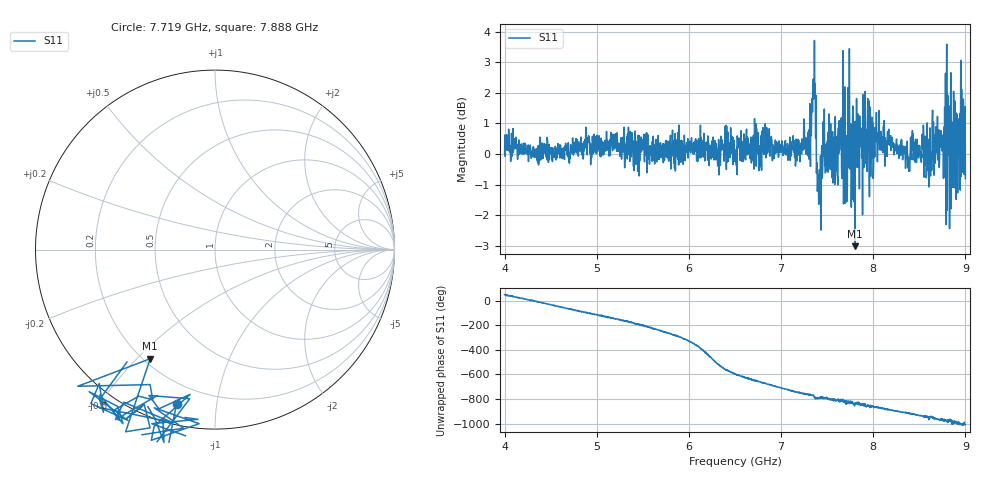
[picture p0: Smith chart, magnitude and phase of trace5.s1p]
! Created with skrf 1.8.0 (http://scikit-rf.org).
# Hz S RI R 50.0
!freq ReS11 ImS11
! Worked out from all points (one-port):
!   1601 points, 4 GHz to 9 GHz, reference 50 ohm
!   lowest |S11| = -3.0 dB at 7.8 GHz (marker M1), VSWR 5.82, Z = 11.3 - j27.4 ohm
!   |S11| at or under -10 dB: nowhere
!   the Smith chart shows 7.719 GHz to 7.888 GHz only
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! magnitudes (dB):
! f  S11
! 4 GHz  0.0
! 4.625 GHz  -0.2
! 5.25 GHz  -0.1
! 5.875 GHz  0.3
! 6.5 GHz  0.0
! 7.125 GHz  0.2
! 7.294 GHz  -0.1
! 7.347 GHz  2.2
! 7.366 GHz  1.9
! 7.409 GHz  -1.6
! 7.512 GHz  0.7
! 7.591 GHz  0.0
! 7.647 GHz  0.6
! 7.703 GHz  0.2
! 7.75 GHz  -0.5
! 7.775 GHz  1.0
! 7.8 GHz  -3.0
! 7.928 GHz  0.7
! 7.981 GHz  -0.1
! 8.178 GHz  0.6
! 8.375 GHz  -0.1
! 8.425 GHz  0.8
! 8.612 GHz  -0.2
! 8.666 GHz  0.6
! 8.8 GHz  -0.4
! 8.844 GHz  -1.8
! 8.959 GHz  2.1
! 9 GHz  -0.8
